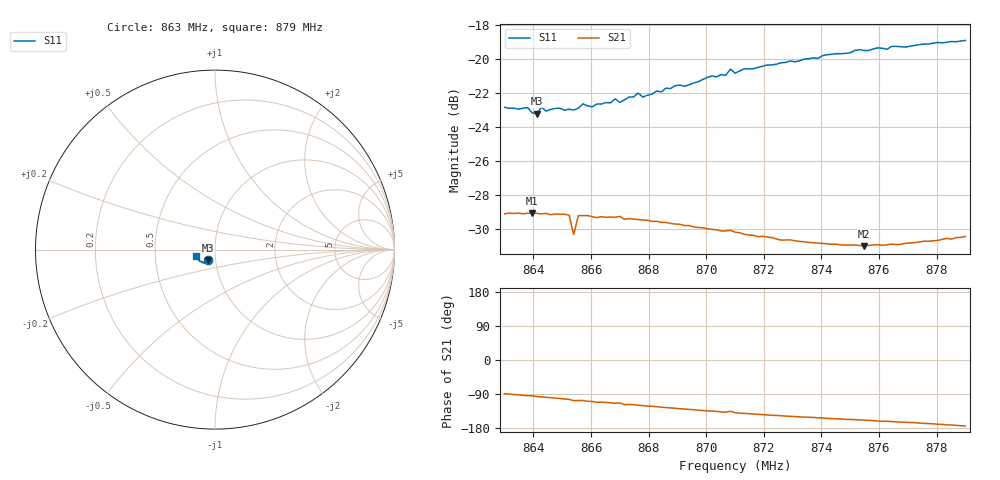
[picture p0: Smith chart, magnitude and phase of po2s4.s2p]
# HZ S RI R 50
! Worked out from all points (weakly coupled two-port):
!   101 points, 863 MHz to 879 MHz, reference 50 ohm
!   highest |S21| = -29.05 dB at 863.96 MHz (marker M1); lowest = -31.0 dB at 875.48 MHz (marker M2)
!   lowest |S11| = -23.2 dB at 864.12 MHz (marker M3), VSWR 1.15, Z = 46.1 - j5.39 ohm
!   |S11| at or under -10 dB: start of sweep to end of sweep
!   S12 and S22 are empty: the file has one direction only
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8.63e8  -0.0416 -0.0589  0.000687 -0.035  0 0  0 0
8.638e8  -0.04 -0.0599  -0.00242 -0.0351  0 0  0 0
8.6396e8  -0.0384 -0.0578  -0.00255 -0.0352  0 0  0 0
8.6412e8  -0.0373 -0.0582  -0.00381 -0.035  0 0  0 0
8.6428e8  -0.0374 -0.0617  -0.00462 -0.0347  0 0  0 0
8.6524e8  -0.0368 -0.0609  -0.00832 -0.0337  0 0  0 0
8.654e8  -0.0357 -0.0612  -0.00906 -0.0291  0 0  0 0
8.6556e8  -0.0364 -0.0617  -0.01 -0.0331  0 0  0 0
8.6572e8  -0.0373 -0.0638  -0.0101 -0.0331  0 0  0 0
8.6604e8  -0.0357 -0.063  -0.0114 -0.0325  0 0  0 0
8.6684e8  -0.0372 -0.0668  -0.0139 -0.0313  0 0  0 0
8.67e8  -0.0347 -0.066  -0.0136 -0.0317  0 0  0 0
8.6764e8  -0.0394 -0.069  -0.0166 -0.0294  0 0  0 0
8.678e8  -0.0386 -0.067  -0.0169 -0.029  0 0  0 0
8.6844e8  -0.041 -0.0689  -0.0188 -0.0273  0 0  0 0
8.7068e8  -0.0512 -0.0735  -0.0231 -0.021  0 0  0 0
8.7084e8  -0.0581 -0.0733  -0.0222 -0.0221  0 0  0 0
8.71e8  -0.0535 -0.0735  -0.0233 -0.0203  0 0  0 0
8.7372e8  -0.0725 -0.0701  -0.0253 -0.0137  0 0  0 0
8.7548e8  -0.0852 -0.0631  -0.0262 -0.0102  0 0  0 0
8.7644e8  -0.0931 -0.0568  -0.0272 -0.00859  0 0  0 0
8.79e8  -0.1074 -0.0366  -0.0299 -0.00307  0 0  0 0
